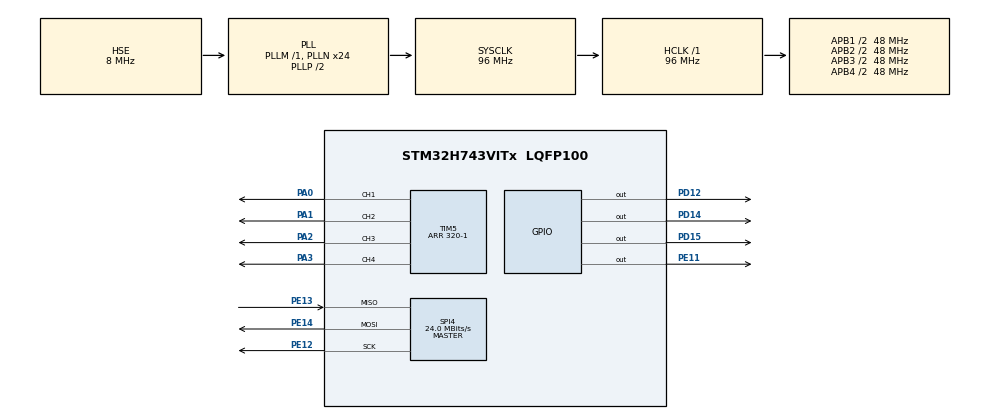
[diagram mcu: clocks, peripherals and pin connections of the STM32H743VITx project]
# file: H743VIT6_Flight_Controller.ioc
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Dma.Request0=SPI4_RX
Dma.Request1=SPI4_TX
Dma.Request2=TIM5_CH1
Dma.Request3=TIM5_CH2
Dma.Request4=TIM5_CH3
Dma.Request5=TIM5_CH4
Dma.SPI4_RX.0.Direction=DMA_PERIPH_TO_MEMORY
Dma.SPI4_RX.0.EventEnable=DISABLE
Dma.SPI4_RX.0.FIFOMode=DMA_FIFOMODE_DISABLE
Dma.SPI4_RX.0.Instance=DMA2_Stream3
Dma.SPI4_RX.0.MemDataAlignment=DMA_MDATAALIGN_BYTE
Dma.SPI4_RX.0.MemInc=DMA_MINC_ENABLE
Dma.SPI4_RX.0.Mode=DMA_NORMAL
Dma.SPI4_RX.0.PeriphDataAlignment=DMA_PDATAALIGN_BYTE
Dma.SPI4_RX.0.PeriphInc=DMA_PINC_DISABLE
Dma.SPI4_RX.0.Polarity=HAL_DMAMUX_REQ_GEN_RISING
Dma.SPI4_RX.0.Priority=DMA_PRIORITY_HIGH
Dma.SPI4_RX.0.RequestNumber=1
Dma.SPI4_RX.0.SignalID=NONE
Dma.SPI4_RX.0.SyncEnable=DISABLE
Dma.SPI4_RX.0.SyncPolarity=HAL_DMAMUX_SYNC_NO_EVENT
Dma.SPI4_RX.0.SyncRequestNumber=1
Dma.SPI4_RX.0.SyncSignalID=NONE
Dma.SPI4_TX.1.Direction=DMA_MEMORY_TO_PERIPH
Dma.SPI4_TX.1.EventEnable=DISABLE
Dma.SPI4_TX.1.FIFOMode=DMA_FIFOMODE_DISABLE
Dma.SPI4_TX.1.Instance=DMA2_Stream1
Dma.SPI4_TX.1.MemDataAlignment=DMA_MDATAALIGN_BYTE
Dma.SPI4_TX.1.MemInc=DMA_MINC_ENABLE
Dma.SPI4_TX.1.Mode=DMA_NORMAL
Dma.SPI4_TX.1.PeriphDataAlignment=DMA_PDATAALIGN_BYTE
Dma.SPI4_TX.1.PeriphInc=DMA_PINC_DISABLE
Dma.SPI4_TX.1.Polarity=HAL_DMAMUX_REQ_GEN_RISING
Dma.SPI4_TX.1.Priority=DMA_PRIORITY_HIGH
Dma.SPI4_TX.1.RequestNumber=1
Dma.SPI4_TX.1.SignalID=NONE
Dma.SPI4_TX.1.SyncEnable=DISABLE
Dma.SPI4_TX.1.SyncPolarity=HAL_DMAMUX_SYNC_NO_EVENT
Dma.SPI4_TX.1.SyncRequestNumber=1
Dma.SPI4_TX.1.SyncSignalID=NONE
Dma.TIM5_CH1.2.Direction=DMA_MEMORY_TO_PERIPH
Dma.TIM5_CH1.2.EventEnable=DISABLE
Dma.TIM5_CH1.2.FIFOMode=DMA_FIFOMODE_ENABLE
Dma.TIM5_CH1.2.FIFOThreshold=DMA_FIFO_THRESHOLD_FULL
Dma.TIM5_CH1.2.Instance=DMA1_Stream0
Dma.TIM5_CH1.2.MemBurst=DMA_MBURST_SINGLE
Dma.TIM5_CH1.2.MemDataAlignment=DMA_MDATAALIGN_WORD
Dma.TIM5_CH1.2.MemInc=DMA_MINC_ENABLE
Dma.TIM5_CH1.2.Mode=DMA_CIRCULAR
Dma.TIM5_CH1.2.PeriphBurst=DMA_PBURST_SINGLE
Dma.TIM5_CH1.2.PeriphDataAlignment=DMA_PDATAALIGN_WORD
Dma.TIM5_CH1.2.PeriphInc=DMA_PINC_DISABLE
Dma.TIM5_CH1.2.Polarity=HAL_DMAMUX_REQ_GEN_RISING
Dma.TIM5_CH1.2.Priority=DMA_PRIORITY_VERY_HIGH
Dma.TIM5_CH1.2.RequestNumber=1
Dma.TIM5_CH1.2.SignalID=NONE
Dma.TIM5_CH1.2.SyncEnable=DISABLE
Dma.TIM5_CH1.2.SyncPolarity=HAL_DMAMUX_SYNC_NO_EVENT
Dma.TIM5_CH1.2.SyncRequestNumber=1
Dma.TIM5_CH1.2.SyncSignalID=NONE
Dma.TIM5_CH2.3.Direction=DMA_MEMORY_TO_PERIPH
Dma.TIM5_CH2.3.EventEnable=DISABLE
Dma.TIM5_CH2.3.FIFOMode=DMA_FIFOMODE_ENABLE
Dma.TIM5_CH2.3.FIFOThreshold=DMA_FIFO_THRESHOLD_FULL
Dma.TIM5_CH2.3.Instance=DMA1_Stream1
Dma.TIM5_CH2.3.MemBurst=DMA_MBURST_SINGLE
Dma.TIM5_CH2.3.MemDataAlignment=DMA_MDATAALIGN_WORD
Dma.TIM5_CH2.3.MemInc=DMA_MINC_ENABLE
Dma.TIM5_CH2.3.Mode=DMA_CIRCULAR
Dma.TIM5_CH2.3.PeriphBurst=DMA_PBURST_SINGLE
Dma.TIM5_CH2.3.PeriphDataAlignment=DMA_PDATAALIGN_WORD
Dma.TIM5_CH2.3.PeriphInc=DMA_PINC_DISABLE
Dma.TIM5_CH2.3.Polarity=HAL_DMAMUX_REQ_GEN_RISING
Dma.TIM5_CH2.3.Priority=DMA_PRIORITY_VERY_HIGH
Dma.TIM5_CH2.3.RequestNumber=1
Dma.TIM5_CH2.3.SignalID=NONE
Dma.TIM5_CH2.3.SyncEnable=DISABLE
Dma.TIM5_CH2.3.SyncPolarity=HAL_DMAMUX_SYNC_NO_EVENT
Dma.TIM5_CH2.3.SyncRequestNumber=1
Dma.TIM5_CH2.3.SyncSignalID=NONE
Dma.TIM5_CH3.4.Direction=DMA_MEMORY_TO_PERIPH
Dma.TIM5_CH3.4.EventEnable=DISABLE
Dma.TIM5_CH3.4.FIFOMode=DMA_FIFOMODE_ENABLE
Dma.TIM5_CH3.4.FIFOThreshold=DMA_FIFO_THRESHOLD_FULL
Dma.TIM5_CH3.4.Instance=DMA1_Stream2
Dma.TIM5_CH3.4.MemBurst=DMA_MBURST_SINGLE
Dma.TIM5_CH3.4.MemDataAlignment=DMA_MDATAALIGN_WORD
Dma.TIM5_CH3.4.MemInc=DMA_MINC_ENABLE
Dma.TIM5_CH3.4.Mode=DMA_CIRCULAR
Dma.TIM5_CH3.4.PeriphBurst=DMA_PBURST_SINGLE
Dma.TIM5_CH3.4.PeriphDataAlignment=DMA_PDATAALIGN_WORD
Dma.TIM5_CH3.4.PeriphInc=DMA_PINC_DISABLE
Dma.TIM5_CH3.4.Polarity=HAL_DMAMUX_REQ_GEN_RISING
Dma.TIM5_CH3.4.Priority=DMA_PRIORITY_VERY_HIGH
Dma.TIM5_CH3.4.RequestNumber=1
Dma.TIM5_CH3.4.SignalID=NONE
Dma.TIM5_CH3.4.SyncEnable=DISABLE
Dma.TIM5_CH3.4.SyncPolarity=HAL_DMAMUX_SYNC_NO_EVENT
Dma.TIM5_CH3.4.SyncRequestNumber=1
Dma.TIM5_CH3.4.SyncSignalID=NONE
Dma.TIM5_CH4.5.Direction=DMA_MEMORY_TO_PERIPH
Dma.TIM5_CH4.5.EventEnable=DISABLE
Dma.TIM5_CH4.5.FIFOMode=DMA_FIFOMODE_ENABLE
Dma.TIM5_CH4.5.FIFOThreshold=DMA_FIFO_THRESHOLD_FULL
Dma.TIM5_CH4.5.Instance=DMA1_Stream3
Dma.TIM5_CH4.5.MemBurst=DMA_MBURST_SINGLE
Dma.TIM5_CH4.5.MemDataAlignment=DMA_MDATAALIGN_WORD
Dma.TIM5_CH4.5.MemInc=DMA_MINC_ENABLE
Dma.TIM5_CH4.5.Mode=DMA_CIRCULAR
Dma.TIM5_CH4.5.PeriphBurst=DMA_PBURST_SINGLE
Dma.TIM5_CH4.5.PeriphDataAlignment=DMA_PDATAALIGN_WORD
Dma.TIM5_CH4.5.PeriphInc=DMA_PINC_DISABLE
Dma.TIM5_CH4.5.Polarity=HAL_DMAMUX_REQ_GEN_RISING
Dma.TIM5_CH4.5.Priority=DMA_PRIORITY_VERY_HIGH
Dma.TIM5_CH4.5.RequestNumber=1
Dma.TIM5_CH4.5.SignalID=NONE
Dma.TIM5_CH4.5.SyncEnable=DISABLE
Dma.TIM5_CH4.5.SyncPolarity=HAL_DMAMUX_SYNC_NO_EVENT
Dma.TIM5_CH4.5.SyncRequestNumber=1
Dma.TIM5_CH4.5.SyncSignalID=NONE
Mcu.Family=STM32H7
Mcu.Name=STM32H743VITx
Mcu.Package=LQFP100
NVIC.DMA1_Stream0_IRQn=true\:0\:0\:true\:false\:true\:false\:true\:true
NVIC.DMA1_Stream1_IRQn=true\:0\:0\:true\:false\:true\:false\:true\:true
NVIC.DMA1_Stream2_IRQn=true\:0\:0\:true\:false\:true\:false\:true\:true
NVIC.DMA1_Stream3_IRQn=true\:0\:0\:true\:false\:true\:false\:true\:true
NVIC.DMA2_Stream1_IRQn=true\:0\:0\:false\:false\:true\:false\:true\:true
NVIC.DMA2_Stream3_IRQn=true\:0\:0\:false\:false\:true\:false\:true\:true
NVIC.PriorityGroup=NVIC_PRIORITYGROUP_4
NVIC.SPI4_IRQn=true\:0\:0\:false\:false\:true\:false\:true\:true
NVIC.TIM2_IRQn=true\:5\:0\:true\:false\:true\:true\:true\:true
PA0.Signal=S_TIM5_CH1
PA1.Signal=S_TIM5_CH2
PA2.Signal=S_TIM5_CH3
PA3.Signal=S_TIM5_CH4
PD12.Signal=GPIO_Output
PD14.Signal=GPIO_Output
PD15.Signal=GPIO_Output
PE11.Signal=GPIO_Output
PE12.Mode=Full_Duplex_Master
PE12.Signal=SPI4_SCK
PE13.Mode=Full_Duplex_Master
PE13.Signal=SPI4_MISO
PE14.Mode=Full_Duplex_Master
PE14.Signal=SPI4_MOSI
PH0-OSC_IN\ (PH0).Mode=HSE-External-Oscillator
PH0-OSC_IN\ (PH0).Signal=RCC_OSC_IN
PH1-OSC_OUT\ (PH1).Mode=HSE-External-Oscillator
PH1-OSC_OUT\ (PH1).Signal=RCC_OSC_OUT
ProjectManager.HeapSize=0x200
ProjectManager.StackSize=0x400
ProjectManager.TargetToolchain=STM32CubeIDE
RCC.ADCFreq_Value=16125000
RCC.APB1Freq_Value=48000000
RCC.APB2Freq_Value=48000000
RCC.APB3Freq_Value=48000000
RCC.APB4Freq_Value=48000000
RCC.CortexFreq_Value=96000000
RCC.D1PPRE=RCC_APB3_DIV2
RCC.D2PPRE1=RCC_APB1_DIV2
RCC.D2PPRE2=RCC_APB2_DIV2
RCC.D3PPRE=RCC_APB4_DIV2
RCC.DIVM1=1
RCC.DIVM3=1
RCC.DIVN1=24
RCC.DIVN3=24
RCC.DIVQ1=3
RCC.DIVQ3=4
RCC.HCLKFreq_Value=96000000
RCC.HSE_VALUE=8000000
RCC.PLL2FRACN=0
RCC.PLL2_VCO_SEL-AdvancedSettings=RCC_PLL2VCOMEDIUM
RCC.PLL3FRACN=0
RCC.PLLFRACN=0
RCC.PLLSourceVirtual=RCC_PLLSOURCE_HSE
RCC.SYSCLKFreq_VALUE=96000000
RCC.SYSCLKSource=RCC_SYSCLKSOURCE_PLLCLK
RCC.USBCLockSelection=RCC_USBCLKSOURCE_PLL3
RCC.USBFreq_Value=48000000
SH.S_TIM5_CH1.0=TIM5_CH1,PWM Generation1 CH1
SH.S_TIM5_CH2.0=TIM5_CH2,PWM Generation2 CH2
SH.S_TIM5_CH3.0=TIM5_CH3,PWM Generation3 CH3
SH.S_TIM5_CH4.0=TIM5_CH4,PWM Generation4 CH4
SPI4.CalculateBaudRate=24.0 MBits/s
SPI4.DataSize=SPI_DATASIZE_8BIT
SPI4.Direction=SPI_DIRECTION_2LINES
SPI4.Mode=SPI_MODE_MASTER
SPI4.VirtualType=VM_MASTER
TIM2.Period=999
TIM2.Prescaler=240-1
TIM5.Channel-PWM\ Generation1\ CH1=TIM_CHANNEL_1
TIM5.Channel-PWM\ Generation2\ CH2=TIM_CHANNEL_2
TIM5.Channel-PWM\ Generation3\ CH3=TIM_CHANNEL_3
TIM5.Channel-PWM\ Generation4\ CH4=TIM_CHANNEL_4
TIM5.OCFastMode_PWM-PWM\ Generation1\ CH1=TIM_OCFAST_ENABLE
TIM5.OCFastMode_PWM-PWM\ Generation2\ CH2=TIM_OCFAST_ENABLE
TIM5.OCFastMode_PWM-PWM\ Generation3\ CH3=TIM_OCFAST_ENABLE
TIM5.OCFastMode_PWM-PWM\ Generation4\ CH4=TIM_OCFAST_ENABLE
TIM5.Period=320-1
TIM5.Pulse-PWM\ Generation1\ CH1=120
TIM5.Pulse-PWM\ Generation2\ CH2=120
TIM5.Pulse-PWM\ Generation3\ CH3=120
TIM5.Pulse-PWM\ Generation4\ CH4=120
VP_MEMORYMAP_VS_MEMORYMAP.Mode=CurAppReg
VP_TIM2_VS_ClockSourceINT.Mode=Internal
VP_TIM5_VS_ClockSourceINT.Mode=Internal
board=custom

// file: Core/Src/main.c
/* USER CODE BEGIN Header */
/**
  ******************************************************************************
  * @file           : main.c
  * @brief          : Main program body
  ******************************************************************************
  * @attention
  *
  * Copyright (c) 2025 STMicroelectronics.
  * All rights reserved.
  *
  * This software is licensed under terms that can be found in the LICENSE file
  * in the root directory of this software component.
  * If no LICENSE file comes with this software, it is provided AS-IS.
  *
  ******************************************************************************
  */
/* USER CODE END Header */
#include "main.h"
#include "dma.h"
#include "spi.h"
#include "tim.h"
#include "gpio.h"

/* USER CODE BEGIN Includes */
#include "mpu6000.h"
#include "filter.h"
#include "pid.h"
#include "dshot.h"
#include <string.h>
/* USER CODE END Includes */

/* USER CODE BEGIN PD */
#define PID_KP_PITCH_INNER		1.0f
#define PID_KD_PITCH_INNER		0.0f
#define PID_KI_PITCH_INNER		0.0f
#define PID_KP_PITCH_OUTER		5.0f
#define PID_KD_PITCH_OUTER		0.0f
#define PID_KI_PITCH_OUTER		0.0f

#define PID_KP_ROLL_INNER		1.0f
#define PID_KD_ROLL_INNER		0.0f
#define PID_KI_ROLL_INNER		0.0f
#define PID_KP_ROLL_OUTER		5.0f
#define PID_KD_ROLL_OUTER		0.0f
#define PID_KI_ROLL_OUTER		0.0f

#define PID_KP_YAW				5.0f
#define PID_KD_YAW				0.0f
#define PID_KI_YAW				0.0f
#define PID_KP_YAW_RATE			5.0f
#define PID_KD_YAW_RATE			0.0f
#define PID_KI_YAW_RATE			0.0f

/* USER CODE END PD */

/* USER CODE BEGIN PV */
float dt = 0.001f;
float acc_x = 0.0f;
float acc_y = 0.0f;
float acc_z = 0.0f;
float gyro_p = 0.0f;
float gyro_q = 0.0f;
float gyro_r = 0.0f;

float pitch_target = 0.0f;
float roll_target = 0.0f;
float yaw_target = 0.0f;

float pitch,roll,yaw,yawHat_acc_rad;
float roll_rad, pitch_rad, yaw_rad;
Double_PID_Controller PID_Controller_Roll, PID_Controller_Pitch;
PID_Controller PID_Controller_Yaw, PID_Controller_Yaw_Rate;
uint16_t throttle = 1000;

MPU6000 mpu;
float rollHat_acc_rad;
float pitchHat_acc_rad;
IIR_Filter_3D acc_filtered;
IIR_Filter_3D gyro_filtered;

uint32_t DShot_MemoryBufferMotor1[MEM_BUFFER_LENGTH] = {0};
uint32_t DShot_DMABufferMotor1[DMA_BUFFER_LENGTH] = {0};
uint32_t DShot_MemoryBufferMotor2[MEM_BUFFER_LENGTH] = {0};
uint32_t DShot_DMABufferMotor2[DMA_BUFFER_LENGTH] = {0};
uint32_t DShot_MemoryBufferMotor3[MEM_BUFFER_LENGTH] = {0};
uint32_t DShot_DMABufferMotor3[DMA_BUFFER_LENGTH] = {0};
uint32_t DShot_MemoryBufferMotor4[MEM_BUFFER_LENGTH] = {0};
uint32_t DShot_DMABufferMotor4[DMA_BUFFER_LENGTH] = {0};

bool motor_armed;

float m1,m2,m3,m4;

/* USER CODE END PV */

void SystemClock_Config(void);
/* USER CODE BEGIN PFP */
void HAL_SPI_TxCpltCallback(SPI_HandleTypeDef *hspi) {
    if (hspi->Instance == SPI4) {

        mpu.spi_transfer_done=true;
    }
}
void HAL_SPI_TxRxCpltCallback(SPI_HandleTypeDef *hspi) {
    if (hspi->Instance == SPI4) {
    	mpu.state = 2;
        mpu.spi_transfer_done=true;
    }
}
void HAL_TIM_PeriodElapsedCallback(TIM_HandleTypeDef *htim)
{
    if (htim->Instance == TIM2)
    {
        if (!mpu.state)
        {
        	mpu.state = 1;
            MPU6000_Start_DMA(&mpu);
        }
    }
}
void HAL_TIM_PWM_PulseFinishedHalfCpltCallback(TIM_HandleTypeDef *htim)
{
    if (htim->Instance == TIM5)
    {
        if (htim->Channel == HAL_TIM_ACTIVE_CHANNEL_1)
        {
            memcpy(DShot_DMABufferMotor1, DShot_MemoryBufferMotor1,
                   MEM_BUFFER_LENGTH * sizeof(DShot_DMABufferMotor1[0]));
        }
        else if (htim->Channel == HAL_TIM_ACTIVE_CHANNEL_2)
        {
            memcpy(DShot_DMABufferMotor2, DShot_MemoryBufferMotor2,
                   MEM_BUFFER_LENGTH * sizeof(DShot_DMABufferMotor2[0]));
        }
        else if (htim->Channel == HAL_TIM_ACTIVE_CHANNEL_3)
        {
            memcpy(DShot_DMABufferMotor3, DShot_MemoryBufferMotor3,
                   MEM_BUFFER_LENGTH * sizeof(DShot_DMABufferMotor3[0]));
        }
        else if (htim->Channel == HAL_TIM_ACTIVE_CHANNEL_4)
        {
            memcpy(DShot_DMABufferMotor4, DShot_MemoryBufferMotor4,
                   MEM_BUFFER_LENGTH * sizeof(DShot_DMABufferMotor4[0]));
        }
    }
}

/* USER CODE END PFP */

/* USER CODE BEGIN 0 */
float get_pitch(float Ax, float Ay, float Az) {
    return atan2f(Ay, sqrtf(Ax * Ax + Az * Az)) * 180.0f / M_PI;
}

float get_roll(float Ax, float Az) {
    return atan2f(-Ax, Az) * 180.0f / M_PI;
}

void init_PIDs(void)
{
//    PID_Init(&pid_roll,  1.5f, 0.0f, 0.05f, 400.0f, 100.0f);
//    PID_Init(&pid_pitch, 1.5f, 0.0f, 0.05f, 400.0f, 100.0f);
//    PID_Init(&pid_yaw,   2.0f, 0.0f, 0.10f, 400.0f, 100.0f);
	PID_Init(&PID_Controller_Pitch.inner_loop, PID_KP_PITCH_INNER, PID_KI_PITCH_INNER, PID_KD_PITCH_INNER, 400.0f, 100.0f);
	PID_Init(&PID_Controller_Roll.inner_loop, PID_KP_ROLL_INNER, PID_KI_ROLL_INNER, PID_KD_ROLL_INNER, 400.0f, 100.0f);
	PID_Init(&PID_Controller_Yaw, PID_KP_YAW, PID_KI_YAW, PID_KD_YAW, 400.0f, 100.0f);

	PID_Init(&PID_Controller_Pitch.outer_loop, PID_KP_PITCH_OUTER, PID_KI_PITCH_OUTER, PID_KD_PITCH_OUTER, 400.0f, 100.0f);
	PID_Init(&PID_Controller_Roll.outer_loop, PID_KP_ROLL_OUTER, PID_KI_ROLL_OUTER, PID_KD_ROLL_OUTER, 400.0f, 100.0f);
	PID_Init(&PID_Controller_Yaw_Rate, PID_KP_YAW_RATE, PID_KI_YAW_RATE, PID_KD_YAW_RATE, 400.0f, 100.0f);

}
/* USER CODE END 0 */

int main(void)
{

  /* MCU Configuration--------------------------------------------------------*/

  /* Reset of all peripherals, Initializes the Flash interface and the Systick. */
  HAL_Init();

  /* Configure the system clock */
  SystemClock_Config();

  /* Initialize all configured peripherals */
  MX_GPIO_Init();
  MX_DMA_Init();
  MX_SPI4_Init();
  MX_TIM2_Init();
  MX_TIM5_Init();
  /* USER CODE BEGIN 2 */
  IIR_Filter_3D_Init(&acc_filtered, IIR_ACC_ALPHA, IIR_ACC_BETA);
  IIR_Filter_3D_Init(&gyro_filtered, IIR_GYR_ALPHA, IIR_GYR_BETA);
  MPU6000_Init(&mpu, &hspi4);

  mpu.state=0;
  for(int i=0;i<=14;i++) mpu.tx_buffer[i]=0xFF;
  init_PIDs();
  MPU6000_Calibrate(&mpu);
  MPU6000_Start_DMA(&mpu);

  HAL_TIM_Base_Start_IT(&htim2);

  Dshot_DMABuffer_init(DShot_DMABufferMotor1);
  Dshot_DMABuffer_init(DShot_DMABufferMotor2);
  Dshot_DMABuffer_init(DShot_DMABufferMotor3);
  Dshot_DMABuffer_init(DShot_DMABufferMotor4);

  Dshot_MemoryBuffer_init(DShot_MemoryBufferMotor1);
  Dshot_MemoryBuffer_init(DShot_MemoryBufferMotor2);
  Dshot_MemoryBuffer_init(DShot_MemoryBufferMotor3);
  Dshot_MemoryBuffer_init(DShot_MemoryBufferMotor4);

  Dshot_Calibrate(DShot_DMABufferMotor1);
  Dshot_Calibrate(DShot_DMABufferMotor2);
  Dshot_Calibrate(DShot_DMABufferMotor3);
  Dshot_Calibrate(DShot_DMABufferMotor4);

  HAL_TIM_PWM_Start_DMA(&htim5, TIM_CHANNEL_1, DShot_DMABufferMotor1, DMA_BUFFER_LENGTH);
  HAL_TIM_PWM_Start_DMA(&htim5, TIM_CHANNEL_2, DShot_DMABufferMotor2, DMA_BUFFER_LENGTH);
  HAL_TIM_PWM_Start_DMA(&htim5, TIM_CHANNEL_3, DShot_DMABufferMotor3, DMA_BUFFER_LENGTH);
  HAL_TIM_PWM_Start_DMA(&htim5, TIM_CHANNEL_4, DShot_DMABufferMotor4, DMA_BUFFER_LENGTH);

  HAL_Delay(2000);
  motor_armed = true;
  /* USER CODE END 2 */

  /* Infinite loop */
  /* USER CODE BEGIN WHILE */
  while (1)
  {
	  if (!motor_armed){
		  Dshot_PrepareFrame(0, DShot_MemoryBufferMotor1);
		  Dshot_PrepareFrame(0, DShot_MemoryBufferMotor2);
		  Dshot_PrepareFrame(0, DShot_MemoryBufferMotor3);
		  Dshot_PrepareFrame(0, DShot_MemoryBufferMotor4);

	  }
	  else{
		  //0 <= m1, m2, m3, m4 <= 1999
		  Dshot_PrepareFrame(m1, DShot_MemoryBufferMotor1);
		  Dshot_PrepareFrame(m2, DShot_MemoryBufferMotor2);
		  Dshot_PrepareFrame(m3, DShot_MemoryBufferMotor3);
		  Dshot_PrepareFrame(m4, DShot_MemoryBufferMotor4);
	  }

	  if (mpu.state==2){
		  MPU6000_Process_DMA(&mpu);
		  mpu.state = 0;

		  /*low-pass filter*/
		  IIR_Filter_3D_Update(&acc_filtered, mpu.acc[0], mpu.acc[1], mpu.acc[2], &acc_x, &acc_y, &acc_z);
		  IIR_Filter_3D_Update(&gyro_filtered, mpu.gyro[0], mpu.gyro[1], mpu.gyro[2], &gyro_p, &gyro_q, &gyro_r);

		  /*Estimate pitch and roll*/
		  rollHat_acc_rad = atan2f(acc_y, acc_z);
		  pitchHat_acc_rad = atan2f(-acc_x, sqrtf(acc_y * acc_y + acc_z * acc_z));

		  float yawDot_rad = gyro_r * (M_PI / 180.0f);
		  float rollDot_rad = (gyro_p * (M_PI / 180.0f) + tanf(pitchHat_acc_rad) * sinf(rollHat_acc_rad) * gyro_q * (M_PI / 180.0f) + tanf(pitchHat_acc_rad) * cosf(rollHat_acc_rad) * gyro_r * (M_PI / 180.0f));
		  float pitchDot_rad = (cosf(rollHat_acc_rad) * gyro_q * (M_PI / 180.0f) - sinf(rollHat_acc_rad) * gyro_r * (M_PI / 180.0f));

		  //Complementary filter
		  roll_rad = (1.0f - COMP_ALPHA) * rollHat_acc_rad + COMP_ALPHA * (roll_rad + rollDot_rad * dt );
		  pitch_rad = (1.0f - COMP_ALPHA) * pitchHat_acc_rad + COMP_ALPHA * (pitch_rad + pitchDot_rad * dt );
		  yaw_rad = yaw_rad + yawDot_rad*dt;

		  while (yaw_rad >= 2.0f * M_PI) yaw_rad -= 2.0f * M_PI;
		  while (yaw_rad < 0.0f)         yaw_rad += 2.0f * M_PI;

		  float yawDot = yawDot_rad * (180.0f / M_PI);
		  float rollDot = rollDot_rad * (180.0f / M_PI);
		  float pitchDot = pitchDot_rad * (180.0f / M_PI);

		  roll = roll_rad * (180.0f / M_PI);
		  pitch = pitch_rad * (180.0f / M_PI);
		  yaw = yaw_rad * (180.0f / M_PI);

		  float roll_out = PID_Double_Calculation(&PID_Controller_Roll, roll_target, roll, rollDot, dt);
		  float pitch_out = PID_Double_Calculation(&PID_Controller_Pitch, pitch_target, pitch, pitchDot, dt);
		  float yaw_out = PID_Yaw_Angle_Calculation(&PID_Controller_Yaw, yaw_target, yaw, yawDot, dt);

		  m1 = throttle + pitch_out - roll_out + yaw_out;
		  m2 = throttle + pitch_out + roll_out - yaw_out;
		  m3 = throttle - pitch_out + roll_out + yaw_out;
		  m4 = throttle - pitch_out - roll_out - yaw_out;

	  }
    /* USER CODE END WHILE */

  }
}

void SystemClock_Config(void)
{
  RCC_OscInitTypeDef RCC_OscInitStruct = {0};
  RCC_ClkInitTypeDef RCC_ClkInitStruct = {0};

  /** Supply configuration update enable
  */
  HAL_PWREx_ConfigSupply(PWR_LDO_SUPPLY);

  /** Configure the main internal regulator output voltage
  */
  __HAL_PWR_VOLTAGESCALING_CONFIG(PWR_REGULATOR_VOLTAGE_SCALE3);

  while(!__HAL_PWR_GET_FLAG(PWR_FLAG_VOSRDY)) {}

  /** Initializes the RCC Oscillators according to the specified parameters
  * in the RCC_OscInitTypeDef structure.
  */
  RCC_OscInitStruct.OscillatorType = RCC_OSCILLATORTYPE_HSE;
  RCC_OscInitStruct.HSEState = RCC_HSE_ON;
  RCC_OscInitStruct.PLL.PLLState = RCC_PLL_ON;
  RCC_OscInitStruct.PLL.PLLSource = RCC_PLLSOURCE_HSE;
  RCC_OscInitStruct.PLL.PLLM = 1;
  RCC_OscInitStruct.PLL.PLLN = 24;
  RCC_OscInitStruct.PLL.PLLP = 2;
  RCC_OscInitStruct.PLL.PLLQ = 3;
  RCC_OscInitStruct.PLL.PLLR = 2;
  RCC_OscInitStruct.PLL.PLLRGE = RCC_PLL1VCIRANGE_3;
  RCC_OscInitStruct.PLL.PLLVCOSEL = RCC_PLL1VCOWIDE;
  RCC_OscInitStruct.PLL.PLLFRACN = 0;
  if (HAL_RCC_OscConfig(&RCC_OscInitStruct) != HAL_OK)
  {
    Error_Handler();
  }

  /** Initializes the CPU, AHB and APB buses clocks
  */
  RCC_ClkInitStruct.ClockType = RCC_CLOCKTYPE_HCLK|RCC_CLOCKTYPE_SYSCLK
                              |RCC_CLOCKTYPE_PCLK1|RCC_CLOCKTYPE_PCLK2
                              |RCC_CLOCKTYPE_D3PCLK1|RCC_CLOCKTYPE_D1PCLK1;
  RCC_ClkInitStruct.SYSCLKSource = RCC_SYSCLKSOURCE_PLLCLK;
  RCC_ClkInitStruct.SYSCLKDivider = RCC_SYSCLK_DIV1;
  RCC_ClkInitStruct.AHBCLKDivider = RCC_HCLK_DIV1;
  RCC_ClkInitStruct.APB3CLKDivider = RCC_APB3_DIV2;
  RCC_ClkInitStruct.APB1CLKDivider = RCC_APB1_DIV2;
  RCC_ClkInitStruct.APB2CLKDivider = RCC_APB2_DIV2;
  RCC_ClkInitStruct.APB4CLKDivider = RCC_APB4_DIV2;

  if (HAL_RCC_ClockConfig(&RCC_ClkInitStruct, FLASH_LATENCY_2) != HAL_OK)
  {
    Error_Handler();
  }
}

void Error_Handler(void)
{
  __disable_irq();
  while (1)
  {
  }
}
